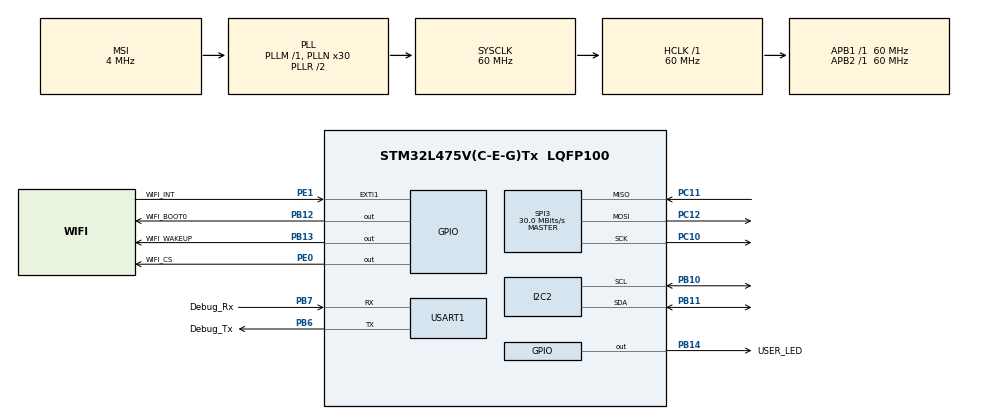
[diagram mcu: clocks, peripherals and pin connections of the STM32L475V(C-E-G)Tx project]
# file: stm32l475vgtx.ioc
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I2C2.Timing=0x107075B0
Mcu.Family=STM32L4
Mcu.Name=STM32L475V(C-E-G)Tx
Mcu.Package=LQFP100
NVIC.EXTI1_IRQn=true\:13\:0\:true\:false\:true\:true\:true
NVIC.PriorityGroup=NVIC_PRIORITYGROUP_4
NVIC.SPI3_IRQn=true\:3\:0\:true\:false\:true\:true\:true
PA13\ (JTMS-SWDIO).Mode=Serial_Wire
PA13\ (JTMS-SWDIO).Signal=SYS_JTMS-SWDIO
PA14\ (JTCK-SWCLK).Mode=Serial_Wire
PA14\ (JTCK-SWCLK).Signal=SYS_JTCK-SWCLK
PB10.Mode=I2C
PB10.Signal=I2C2_SCL
PB11.Mode=I2C
PB11.Signal=I2C2_SDA
PB12.GPIO_Label=WIFI_BOOT0
PB12.Signal=GPIO_Output
PB13.GPIO_Label=WIFI_WAKEUP
PB13.Signal=GPIO_Output
PB14.GPIO_Label=USER_LED
PB14.Signal=GPIO_Output
PB6.GPIO_Label=Debug_Tx
PB6.Mode=Asynchronous
PB6.Signal=USART1_TX
PB7.GPIO_Label=Debug_Rx
PB7.Mode=Asynchronous
PB7.Signal=USART1_RX
PC10.Mode=Full_Duplex_Master
PC10.Signal=SPI3_SCK
PC11.Mode=Full_Duplex_Master
PC11.Signal=SPI3_MISO
PC12.Mode=Full_Duplex_Master
PC12.Signal=SPI3_MOSI
PE0.GPIO_Label=WIFI_CS
PE0.Signal=GPIO_Output
PE1.GPIO_Label=WIFI_INT
PE1.Signal=GPXTI1
ProjectManager.HeapSize=0x200
ProjectManager.StackSize=0x400
ProjectManager.TargetToolchain=STM32CubeIDE
RCC.AHBFreq_Value=60000000
RCC.APB1Freq_Value=60000000
RCC.APB1TimFreq_Value=60000000
RCC.APB2Freq_Value=60000000
RCC.APB2TimFreq_Value=60000000
RCC.CortexFreq_Value=60000000
RCC.HCLKFreq_Value=60000000
RCC.HSE_VALUE=8000000
RCC.HSI_VALUE=16000000
RCC.LSE_VALUE=32768
RCC.MSI_VALUE=4000000
RCC.PLLN=30
RCC.SYSCLKFreq_VALUE=60000000
RCC.SYSCLKSource=RCC_SYSCLKSOURCE_PLLCLK
RCC.VCOOutputFreq_Value=120000000
SPI3.CalculateBaudRate=30.0 MBits/s
SPI3.Direction=SPI_DIRECTION_2LINES
SPI3.Mode=SPI_MODE_MASTER
SPI3.VirtualType=VM_MASTER
USART1.VirtualMode-Asynchronous=VM_ASYNC
board=custom

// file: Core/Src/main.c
/* USER CODE BEGIN Header */
/**
  ******************************************************************************
  * @file           : main.c
  * @brief          : Main program body
  ******************************************************************************
  * @attention
  *
  * <h2><center>&copy; Copyright (c) 2022 STMicroelectronics.
  * All rights reserved.</center></h2>
  *
  * This software component is licensed by ST under BSD 3-Clause license,
  * the "License"; You may not use this file except in compliance with the
  * License. You may obtain a copy of the License at:
  *                        opensource.org/licenses/BSD-3-Clause
  *
  ******************************************************************************
  */
/* USER CODE END Header */
#include "main.h"

/* USER CODE BEGIN Includes */
#include <stdio.h>
#include "example.h"
#include "wifi.h"
#include "es_wifi_io.h"
/* USER CODE END Includes */

/* USER CODE BEGIN PD */
#define SOCKET_NUM (0)
#define TIMEOUT (20)
#define BUF_SZ (1024)
/* USER CODE END PD */

I2C_HandleTypeDef hi2c2;

SPI_HandleTypeDef hspi3;

UART_HandleTypeDef huart1;

static  int volatile cmddata_rdy_rising_event=1;

void SystemClock_Config(void);
static void MX_GPIO_Init(void);
static void MX_I2C2_Init(void);
static void MX_USART1_UART_Init(void);
static void MX_SPI3_Init(void);

int main(void)
{

  /* MCU Configuration--------------------------------------------------------*/

  /* Reset of all peripherals, Initializes the Flash interface and the Systick. */
  HAL_Init();

  /* Configure the system clock */
  SystemClock_Config();

  /* Initialize all configured peripherals */
  MX_GPIO_Init();
  MX_I2C2_Init();
  MX_USART1_UART_Init();
  MX_SPI3_Init();
  /* USER CODE BEGIN 2 */
  printf("wifi-init\r\n");
  WIFI_Status_t ret = WIFI_Init();
  if(ret != WIFI_STATUS_OK) {
	  printf("Failed to initialize Wi-Fi [%d] \r\n", ret);
  }
  uint8_t MAC_Addr[6];
  if(WIFI_GetMAC_Address(MAC_Addr) == WIFI_STATUS_OK)
  {
	  printf("> es-wifi module MAC Address : %X:%X:%X:%X:%X:%X\r\n",
		MAC_Addr[0],
		MAC_Addr[1],
		MAC_Addr[2],
		MAC_Addr[3],
		MAC_Addr[4],
		MAC_Addr[5]);
  }
  else
  {
	  printf("> ERROR : CANNOT got MAC address\r\n");
  }

  printf("wifi-ssid-pass-connect\r\n");
  ret = WIFI_Connect("Test", "12345678", WIFI_ECN_WPA2_PSK);
  if(ret != WIFI_STATUS_OK)
  {
	  printf("failed to connect AP [%d]\r\n", ret);
  }

  uint8_t IP_Addr[4];
  if(WIFI_GetIP_Address(IP_Addr) == WIFI_STATUS_OK)
  {
	  printf(">es-wifi module got IP Address : %d.%d.%d.%d.\r\n",
		IP_Addr[0],
		IP_Addr[2],
		IP_Addr[3],
		IP_Addr[4]);
  }
  /* USER CODE END 2 */

  /* Infinite loop */
  /* USER CODE BEGIN WHILE */
  printf("cloud connect\r\n");

  float tmp = 0.0;
  float hum = 0.0;

  uint8_t req_data[BUF_SZ];
  bzero(req_data, BUF_SZ);
  uint16_t sent_data_len = 0;
  float field1 = 0.0;
  float field2 = 0.0;

  while (1)
  {
	  User_LED(30000);

	  if(cmddata_rdy_rising_event==1)
	  {
		  uint8_t ipAddr[4];
		  ret = WIFI_GetHostAddress("api.thingspark.co.kr", ipAddr);
		  if(ret != WIFI_STATUS_OK)
		  {
			  printf("Failed to get host address [%d]\r\n", ret);
		  }
		  printf("wifi-thinspark-connect\r\n");
		  ret=WIFI_OpenClientConnection(SOCKET_NUM, WIFI_TCP_PROTOCOL, "cloud-connect", ipAddr, 8480, 0);
		  HAL_Delay(1000);
		  if(ret != WIFI_STATUS_OK)
		  {
			  printf("Failed to connect to server [%d]\r\n", ret);
		  }

		  sprintf(req_data, "GET /update?apiKey=R9djRGr0ErxHMZTb&field1=%f&field2=%f\r\n",field1,field2);
		  WIFI_SendData(SOCKET_NUM, req_data, sizeof(req_data), &sent_data_len, TIMEOUT);
		  HAL_Delay(1000);
		  WIFI_CloseClientConnection(SOCKET_NUM);

	  }
    /* USER CODE END WHILE */

    /* USER CODE BEGIN 3 */
	  	  printf("loop\r\n");

	  	  tmp = Temperature_Test();
	  	  hum = Humidity_Test();

	  	  printf("Temperature: %.2f\r\n",tmp);
	  	  field1 = tmp;
	  	  field2 = hum;
	  	  printf("humidity: %.2f\r\n",hum);
  }
  /* USER CODE END 3 */
}

void SystemClock_Config(void)
{
  RCC_OscInitTypeDef RCC_OscInitStruct = {0};
  RCC_ClkInitTypeDef RCC_ClkInitStruct = {0};

  /** Configure the main internal regulator output voltage
  */
  if (HAL_PWREx_ControlVoltageScaling(PWR_REGULATOR_VOLTAGE_SCALE1) != HAL_OK)
  {
    Error_Handler();
  }
  /** Initializes the RCC Oscillators according to the specified parameters
  * in the RCC_OscInitTypeDef structure.
  */
  RCC_OscInitStruct.OscillatorType = RCC_OSCILLATORTYPE_MSI;
  RCC_OscInitStruct.MSIState = RCC_MSI_ON;
  RCC_OscInitStruct.MSICalibrationValue = 0;
  RCC_OscInitStruct.MSIClockRange = RCC_MSIRANGE_6;
  RCC_OscInitStruct.PLL.PLLState = RCC_PLL_ON;
  RCC_OscInitStruct.PLL.PLLSource = RCC_PLLSOURCE_MSI;
  RCC_OscInitStruct.PLL.PLLM = 1;
  RCC_OscInitStruct.PLL.PLLN = 30;
  RCC_OscInitStruct.PLL.PLLP = RCC_PLLP_DIV7;
  RCC_OscInitStruct.PLL.PLLQ = RCC_PLLQ_DIV2;
  RCC_OscInitStruct.PLL.PLLR = RCC_PLLR_DIV2;
  if (HAL_RCC_OscConfig(&RCC_OscInitStruct) != HAL_OK)
  {
    Error_Handler();
  }
  /** Initializes the CPU, AHB and APB buses clocks
  */
  RCC_ClkInitStruct.ClockType = RCC_CLOCKTYPE_HCLK|RCC_CLOCKTYPE_SYSCLK
                              |RCC_CLOCKTYPE_PCLK1|RCC_CLOCKTYPE_PCLK2;
  RCC_ClkInitStruct.SYSCLKSource = RCC_SYSCLKSOURCE_PLLCLK;
  RCC_ClkInitStruct.AHBCLKDivider = RCC_SYSCLK_DIV1;
  RCC_ClkInitStruct.APB1CLKDivider = RCC_HCLK_DIV1;
  RCC_ClkInitStruct.APB2CLKDivider = RCC_HCLK_DIV1;

  if (HAL_RCC_ClockConfig(&RCC_ClkInitStruct, FLASH_LATENCY_3) != HAL_OK)
  {
    Error_Handler();
  }
}

static void MX_I2C2_Init(void)
{

  hi2c2.Instance = I2C2;
  hi2c2.Init.Timing = 0x107075B0;
  hi2c2.Init.OwnAddress1 = 0;
  hi2c2.Init.AddressingMode = I2C_ADDRESSINGMODE_7BIT;
  hi2c2.Init.DualAddressMode = I2C_DUALADDRESS_DISABLE;
  hi2c2.Init.OwnAddress2 = 0;
  hi2c2.Init.OwnAddress2Masks = I2C_OA2_NOMASK;
  hi2c2.Init.GeneralCallMode = I2C_GENERALCALL_DISABLE;
  hi2c2.Init.NoStretchMode = I2C_NOSTRETCH_DISABLE;
  if (HAL_I2C_Init(&hi2c2) != HAL_OK)
  {
    Error_Handler();
  }
  /** Configure Analogue filter
  */
  if (HAL_I2CEx_ConfigAnalogFilter(&hi2c2, I2C_ANALOGFILTER_ENABLE) != HAL_OK)
  {
    Error_Handler();
  }
  /** Configure Digital filter
  */
  if (HAL_I2CEx_ConfigDigitalFilter(&hi2c2, 0) != HAL_OK)
  {
    Error_Handler();
  }

}

static void MX_SPI3_Init(void)
{

  /* SPI3 parameter configuration*/
  hspi3.Instance = SPI3;
  hspi3.Init.Mode = SPI_MODE_MASTER;
  hspi3.Init.Direction = SPI_DIRECTION_2LINES;
  hspi3.Init.DataSize = SPI_DATASIZE_4BIT;
  hspi3.Init.CLKPolarity = SPI_POLARITY_LOW;
  hspi3.Init.CLKPhase = SPI_PHASE_1EDGE;
  hspi3.Init.NSS = SPI_NSS_SOFT;
  hspi3.Init.BaudRatePrescaler = SPI_BAUDRATEPRESCALER_2;
  hspi3.Init.FirstBit = SPI_FIRSTBIT_MSB;
  hspi3.Init.TIMode = SPI_TIMODE_DISABLE;
  hspi3.Init.CRCCalculation = SPI_CRCCALCULATION_DISABLE;
  hspi3.Init.CRCPolynomial = 7;
  hspi3.Init.CRCLength = SPI_CRC_LENGTH_DATASIZE;
  hspi3.Init.NSSPMode = SPI_NSS_PULSE_ENABLE;
  if (HAL_SPI_Init(&hspi3) != HAL_OK)
  {
    Error_Handler();
  }

}

static void MX_USART1_UART_Init(void)
{

  huart1.Instance = USART1;
  huart1.Init.BaudRate = 115200;
  huart1.Init.WordLength = UART_WORDLENGTH_8B;
  huart1.Init.StopBits = UART_STOPBITS_1;
  huart1.Init.Parity = UART_PARITY_NONE;
  huart1.Init.Mode = UART_MODE_TX_RX;
  huart1.Init.HwFlowCtl = UART_HWCONTROL_NONE;
  huart1.Init.OverSampling = UART_OVERSAMPLING_16;
  huart1.Init.OneBitSampling = UART_ONE_BIT_SAMPLE_DISABLE;
  huart1.AdvancedInit.AdvFeatureInit = UART_ADVFEATURE_NO_INIT;
  if (HAL_UART_Init(&huart1) != HAL_OK)
  {
    Error_Handler();
  }

}

static void MX_GPIO_Init(void)
{
  GPIO_InitTypeDef GPIO_InitStruct = {0};

  /* GPIO Ports Clock Enable */
  __HAL_RCC_GPIOB_CLK_ENABLE();
  __HAL_RCC_GPIOA_CLK_ENABLE();
  __HAL_RCC_GPIOC_CLK_ENABLE();
  __HAL_RCC_GPIOE_CLK_ENABLE();

  /*Configure GPIO pin Output Level */
  HAL_GPIO_WritePin(GPIOB, WIFI_BOOT0_Pin|WIFI_WAKEUP_Pin|USER_LED_Pin, GPIO_PIN_RESET);

  /*Configure GPIO pin Output Level */
  HAL_GPIO_WritePin(WIFI_CS_GPIO_Port, WIFI_CS_Pin, GPIO_PIN_RESET);

  /*Configure GPIO pins : WIFI_BOOT0_Pin WIFI_WAKEUP_Pin USER_LED_Pin */
  GPIO_InitStruct.Pin = WIFI_BOOT0_Pin|WIFI_WAKEUP_Pin|USER_LED_Pin;
  GPIO_InitStruct.Mode = GPIO_MODE_OUTPUT_PP;
  GPIO_InitStruct.Pull = GPIO_NOPULL;
  GPIO_InitStruct.Speed = GPIO_SPEED_FREQ_LOW;
  HAL_GPIO_Init(GPIOB, &GPIO_InitStruct);

  /*Configure GPIO pin : WIFI_CS_Pin */
  GPIO_InitStruct.Pin = WIFI_CS_Pin;
  GPIO_InitStruct.Mode = GPIO_MODE_OUTPUT_PP;
  GPIO_InitStruct.Pull = GPIO_NOPULL;
  GPIO_InitStruct.Speed = GPIO_SPEED_FREQ_LOW;
  HAL_GPIO_Init(WIFI_CS_GPIO_Port, &GPIO_InitStruct);

  /*Configure GPIO pin : WIFI_INT_Pin */
  GPIO_InitStruct.Pin = WIFI_INT_Pin;
  GPIO_InitStruct.Mode = GPIO_MODE_IT_RISING;
  GPIO_InitStruct.Pull = GPIO_NOPULL;
  HAL_GPIO_Init(WIFI_INT_GPIO_Port, &GPIO_InitStruct);

  /* EXTI interrupt init*/
  HAL_NVIC_SetPriority(EXTI1_IRQn, 13, 0);
  HAL_NVIC_EnableIRQ(EXTI1_IRQn);

}

void Error_Handler(void)
{
  __disable_irq();
  while (1)
  {
  }
}

/************************ (C) COPYRIGHT STMicroelectronics *****END OF FILE****/
